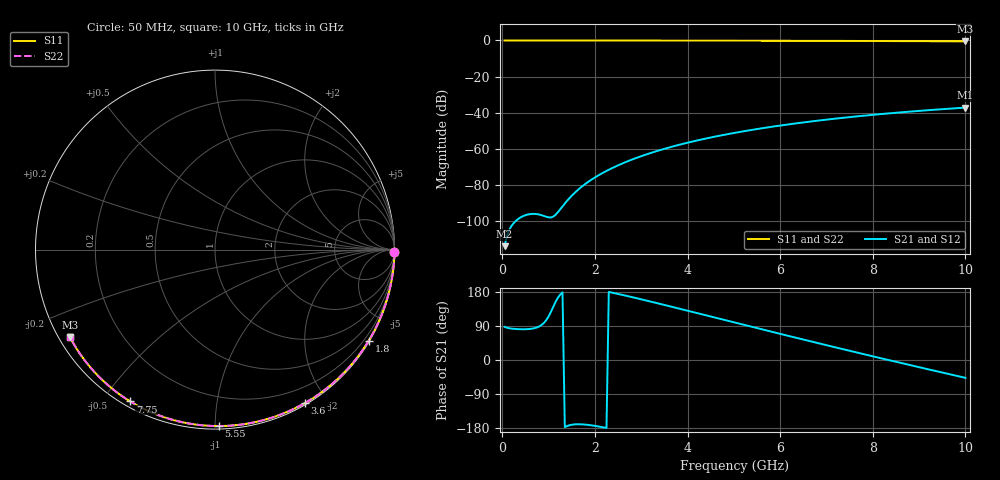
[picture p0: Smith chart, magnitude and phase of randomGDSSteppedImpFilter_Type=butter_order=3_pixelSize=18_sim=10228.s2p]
! freq	dB(S11)	phase(S11)	dB(S12)	phase(S12)
!  dB(S21)	phase(S21)	dB(S22)	phase(S22)
!S-par simulation data
#  GHz  S  DB  R 50
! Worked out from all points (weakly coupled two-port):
!   200 points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, 50 MHz to 10 GHz, reference 50 ohm
!   highest |S21| = -37.21 dB at 10 GHz (marker M1); lowest = -113.9 dB at 50 MHz (marker M2)
!   lowest |S11| = -0.5 dB at 10 GHz (marker M3), VSWR 34.70, Z = 1.55 - j13.9 ohm
!   |S11| at or under -10 dB: nowhere
!   |S22| runs from -0.5 to 0.0 dB; largest |S21 - S12| = 0
!   S11 on the Smith chart (normalised r, x): 50 MHz: open; 1.8 GHz: 0.03, -3.65; 3.6 GHz: 0.02, -1.74; 5.55 GHz: 0.02, -1.02; 7.75 GHz: 0.02, -0.59; 10 GHz: 0.03, -0.28
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0.05  -0.00 -0.9  -113.95 87.4  -113.95 87.4  -0.00 -0.9
0.45  -0.01 -7.8  -97.29 81.1  -97.29 81.1  -0.01 -7.8
0.9  -0.02 -15.5  -97.22 98.0  -97.22 98.0  -0.02 -15.5
1.3  -0.03 -22.3  -91.91 178.5  -91.91 178.5  -0.03 -22.3
1.75  -0.04 -29.8  -80.30 -170.0  -80.30 -170.0  -0.04 -29.8
1.8  -0.04 -30.6  -79.33 -170.6  -79.33 -170.6  -0.04 -30.6
1.95  -0.04 -33.1  -76.69 -172.8  -76.69 -172.8  -0.04 -33.1
2.1  -0.05 -35.6  -74.36 -175.8  -74.36 -175.8  -0.05 -35.6
2.3  -0.05 -38.9  -71.61 179.5  -71.61 179.5  -0.05 -38.9
2.5  -0.05 -42.2  -69.18 174.3  -69.18 174.3  -0.05 -42.2
2.9  -0.06 -48.6  -65.02 163.1  -65.02 163.1  -0.06 -48.6
3.4  -0.07 -56.6  -60.77 148.3  -60.77 148.3  -0.07 -56.6
3.6  -0.08 -59.7  -59.30 142.3  -59.30 142.3  -0.08 -59.7
4.3  -0.10 -70.5  -54.86 120.9  -54.86 120.9  -0.10 -70.5
5.05  -0.13 -81.6  -51.03 97.9  -51.03 97.9  -0.13 -81.7
5.55  -0.15 -88.9  -48.86 82.6  -48.86 82.6  -0.15 -88.9
6.1  -0.17 -96.6  -46.77 66.0  -46.77 66.0  -0.17 -96.7
6.7  -0.20 -105.0  -44.76 48.0  -44.76 48.0  -0.20 -105.0
7.75  -0.28 -119.1  -41.81 17.0  -41.81 17.0  -0.28 -119.2
8.35  -0.33 -127.1  -40.38 -0.4  -40.38 -0.4  -0.33 -127.2
9.2  -0.41 -138.3  -38.62 -24.6  -38.62 -24.6  -0.41 -138.3
10  -0.50 -148.8  -37.21 -47.1  -37.21 -47.1  -0.50 -148.9
